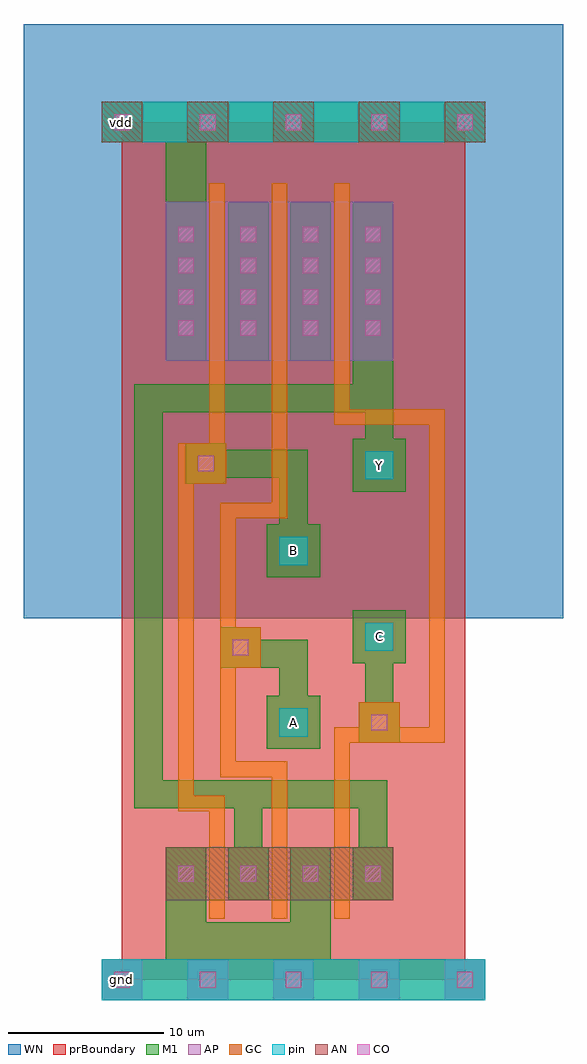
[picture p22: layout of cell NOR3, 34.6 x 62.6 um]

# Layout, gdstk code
import gdstk
lib = gdstk.Library(unit=1e-6, precision=1e-09)
def R(c, l, rs):  # rectangles x0, y0, x1, y1
    for r in rs: c.add(gdstk.rectangle(r[:2], r[2:], *l))
def A(c, l, x, y, w, h, nx, ny, dx, dy):  # array of equal rectangles
    R(c, l, [(x+i*dx, y+j*dy, x+i*dx+w, y+j*dy+h) for i in range(nx) for j in range(ny)])
def P(c, l, *ps):  # polygons
    for p in ps: c.add(gdstk.Polygon(p, *l))
AP = (3, 1)
AN = (3, 2)
GC = (8, 1)
CO = (11, 0)
M1 = (13, 0)
pin = (48, 1)
WN = (140, 0)
prBoundary = (235, 0)

nor3 = lib.new_cell('NOR3')
A(nor3, AP, -1.3, -1.3, 2.6, 2.6, 5, 1, 5.5, 0)
R(nor3, AP, [(2.8,39.7,17.4,49.9), (2.8,39.7,17.4,49.9)])
A(nor3, AN, -1.3, 53.7, 2.6, 2.6, 5, 1, 5.5, 0)
R(nor3, AN, [(2.8,5.1,17.4,8.5)])
P(nor3, GC, [(5.6,3.9),(5.6,10.8),(3.6,10.8),(3.6,34.4),(5.6,34.4),(5.6,51.1),(6.6,51.1),(6.6,34.4),(6.7,34.4),(6.7,31.8),(4.6,31.8),(4.6,11.8),(6.6,11.8),(6.6,3.9)],
  [(9.6,3.9),(9.6,13),(6.3,13),(6.3,30.6),(9.6,30.6),(9.6,51.1),(10.6,51.1),(10.6,29.6),(7.3,29.6),(7.3,22.6),(8.9,22.6),(8.9,20),(7.3,20),(7.3,14),(10.6,14),(10.6,3.9)],
  [(13.6,3.9),(13.6,16.2),(15.2,16.2),(15.2,17.8),(17.8,17.8),(17.8,16.2),(19.7,16.2),(19.7,35.6),(13.6,35.6),(13.6,51.1),(14.6,51.1),(14.6,36.6),(20.7,36.6),(20.7,15.2),(14.6,15.2),(14.6,3.9)])
A(nor3, CO, -0.5, -0.5, 1, 1, 5, 2, 5.5, 55)
A(nor3, CO, 3.6, 41.3, 1, 1, 1, 4, 0, 2)
A(nor3, CO, 15.6, 41.3, 1, 1, 1, 4, 0, 2)
R(nor3, CO, [(3.6,6.3,4.6,7.3), (7.6,6.3,8.6,7.3), (7.6,6.3,8.6,7.3), (11.6,6.3,12.6,7.3), (11.6,6.3,12.6,7.3), (15.6,6.3,16.6,7.3), (16,16,17,17), (7.1,20.8,8.1,21.8), (4.9,32.6,5.9,33.6), (7.6,41.3,8.6,42.3), (7.6,41.3,8.6,42.3), (11.6,41.3,12.6,42.3), (11.6,41.3,12.6,42.3), (7.6,43.3,8.6,44.3), (7.6,43.3,8.6,44.3), (11.6,43.3,12.6,44.3), (11.6,43.3,12.6,44.3), (7.6,45.3,8.6,46.3), (7.6,45.3,8.6,46.3), (11.6,45.3,12.6,46.3), (11.6,45.3,12.6,46.3), (7.6,47.3,8.6,48.3), (7.6,47.3,8.6,48.3), (11.6,47.3,12.6,48.3), (11.6,47.3,12.6,48.3)])
R(nor3, M1, [(6.8,39.7,9.4,49.9), (10.8,39.7,13.4,49.9)])
P(nor3, M1, [(-1.3,-1.3),(-1.3,1.3),(2.8,1.3),(2.8,8.5),(5.4,8.5),(5.4,3.7),(10.8,3.7),(10.8,8.5),(13.4,8.5),(13.4,1.3),(23.3,1.3),(23.3,-1.3)],
  [(9.3,14.8),(9.3,18.2),(10.1,18.2),(10.1,20),(6.3,20),(6.3,22.6),(8.9,22.6),(8.9,21.8),(11.9,21.8),(11.9,18.2),(12.7,18.2),(12.7,14.8)],
  [(15.2,15.2),(15.2,17.8),(15.6,17.8),(15.6,20.3),(14.8,20.3),(14.8,23.7),(18.2,23.7),(18.2,20.3),(17.4,20.3),(17.4,17.8),(17.8,17.8),(17.8,15.2)],
  [(9.3,25.8),(9.3,29.2),(10.1,29.2),(10.1,32.2),(6.7,32.2),(6.7,31.8),(4.1,31.8),(4.1,34.4),(6.7,34.4),(6.7,34),(11.9,34),(11.9,29.2),(12.7,29.2),(12.7,25.8)],
  [(6.8,5.1),(6.8,8.5),(7.2,8.5),(7.2,11),(0.8,11),(0.8,38.2),(14.8,38.2),(14.8,49.9),(17.4,49.9),(17.4,34.7),(18.2,34.7),(18.2,31.3),(14.8,31.3),(14.8,34.7),(15.6,34.7),(15.6,36.4),(2.6,36.4),(2.6,12.8),(17,12.8),(17,8.5),(17.4,8.5),(17.4,5.1),(14.8,5.1),(14.8,8.5),(15.2,8.5),(15.2,11),(9,11),(9,8.5),(9.4,8.5),(9.4,5.1)],
  [(2.8,39.7),(2.8,53.7),(-1.3,53.7),(-1.3,56.3),(23.3,56.3),(23.3,53.7),(5.4,53.7),(5.4,39.7)])
R(nor3, pin, [(-1.3,-1.3,23.3,1.3), (10.1,15.6,11.9,17.4), (15.6,21.1,17.4,22.9), (10.1,26.6,11.9,28.4), (15.6,32.1,17.4,33.9), (-1.3,53.7,23.3,56.3)])
R(nor3, WN, [(-6.3,23.2,28.3,61.3)])
R(nor3, prBoundary, [(0,0,22,55)])
nor3.add(gdstk.Label('Y', (16.5,33), layer=48, texttype=0))
nor3.add(gdstk.Label('A', (11,16.5), layer=48, texttype=0))
nor3.add(gdstk.Label('B', (11,27.5), layer=48, texttype=0))
nor3.add(gdstk.Label('C', (16.5,22), layer=48, texttype=0))
nor3.add(gdstk.Label('vdd', (0,55), layer=48, texttype=0))
nor3.add(gdstk.Label('gnd', (0,0), layer=48, texttype=0))

lib.write_gds('NOR3.gds')
